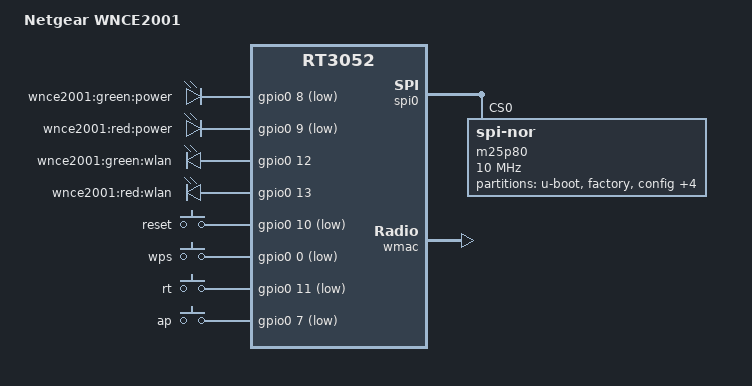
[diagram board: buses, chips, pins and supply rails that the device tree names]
/dts-v1/;

#include "rt3050.dtsi"

#include <dt-bindings/gpio/gpio.h>
#include <dt-bindings/input/input.h>

/ {
	compatible = "netgear,wnce2001", "ralink,rt3052-soc";
	model = "Netgear WNCE2001";

	aliases {
		led-status = &led_power_green;
	};

	chosen {
		bootargs = "console=ttyS0,115200";
	};

	gpio-leds {
		compatible = "gpio-leds";

		led_power_green: power-green {
			label = "wnce2001:green:power";
			gpios = <&gpio0 8 GPIO_ACTIVE_LOW>;
		};

		power-red {
			label = "wnce2001:red:power";
			gpios = <&gpio0 9 GPIO_ACTIVE_LOW>;
		};

		wlan-green {
			label = "wnce2001:green:wlan";
			gpios = <&gpio0 12 GPIO_ACTIVE_HIGH>;
		};

		wlan-red {
			label = "wnce2001:red:wlan";
			gpios = <&gpio0 13 GPIO_ACTIVE_HIGH>;
		};
	};

	gpio-keys-polled {
		compatible = "gpio-keys-polled";
		poll-interval = <20>;

		reset {
			label = "reset";
			gpios = <&gpio0 10 GPIO_ACTIVE_LOW>;
			linux,code = <KEY_RESTART>;
		};

		wps {
			label = "wps";
			gpios = <&gpio0 0 GPIO_ACTIVE_LOW>;
			linux,code = <KEY_WPS_BUTTON>;
		};

		rt {
			label = "rt";
			gpios = <&gpio0 11 GPIO_ACTIVE_LOW>;
			linux,code = <BTN_0>;
		};

		ap {
			label = "ap";
			gpios = <&gpio0 7 GPIO_ACTIVE_LOW>;
			linux,code = <BTN_1>;
		};
	};
};

&spi0 {
	status = "okay";

	m25p80@0 {
		compatible = "jedec,spi-nor";
		reg = <0>;
		spi-max-frequency = <10000000>;

		partitions {
			compatible = "fixed-partitions";
			#address-cells = <1>;
			#size-cells = <1>;

			partition@0 {
				label = "u-boot";
				reg = <0x0 0x30000>;
				read-only;
			};

			factory: partition@30000 {
				label = "factory";
				reg = <0x30000 0x10000>;
				read-only;
			};

			partition@40000 {
				label = "config";
				reg = <0x40000 0x20000>;
				read-only;
			};

			partition@60000 {
				label = "language";
				reg = <0x60000 0x30000>;
				read-only;
			};

			partition@90000 {
				label = "pot";
				reg = <0x90000 0x10000>;
				read-only;
			};

			partition@a0000 {
				label = "checksum";
				reg = <0xa0000 0x10000>;
			};

			partition@b0000 {
				label = "firmware";
				reg = <0xb0000 0x350000>;
			};
		};
	};
};

&pinctrl {
	state_default: pinctrl0 {
		gpio {
			ralink,group = "i2c", "jtag", "rgmii", "mdio", "uartf";
			ralink,function = "gpio";
		};
	};
};

&ethernet {
	mtd-mac-address = <&factory 0x28>;
};

&wmac {
	ralink,mtd-eeprom = <&factory 0>;
};
